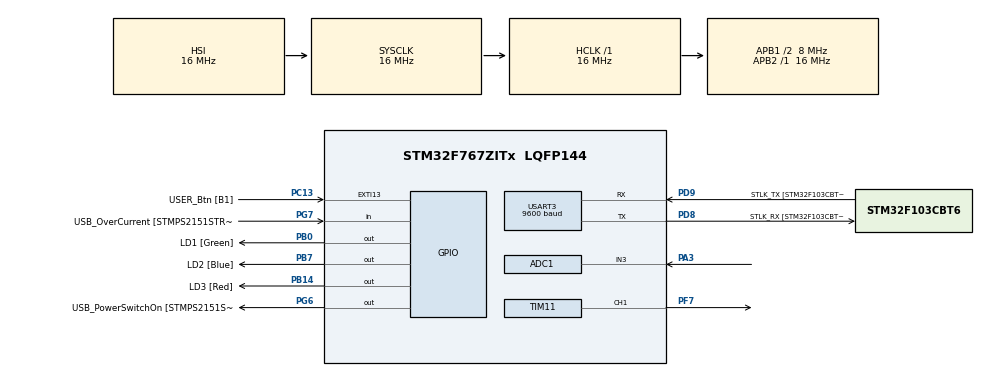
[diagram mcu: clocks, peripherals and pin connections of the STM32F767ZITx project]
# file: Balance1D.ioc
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ADC1.Channel-2\#ChannelRegularConversion=ADC_CHANNEL_3
ADC1.NbrOfConversionFlag=1
ADC1.Rank-2\#ChannelRegularConversion=1
ADC1.SamplingTime-2\#ChannelRegularConversion=ADC_SAMPLETIME_3CYCLES
ADC1.master=1
Mcu.Family=STM32F7
Mcu.Name=STM32F767ZITx
Mcu.Package=LQFP144
NVIC.PriorityGroup=NVIC_PRIORITYGROUP_4
PA1.GPIO_Label=RMII_REF_CLK [LAN8742A-CZ-TR_REFCLK0]
PA1.Signal=ETH_REF_CLK
PA10.GPIO_Label=USB_ID
PA10.Signal=USB_OTG_FS_ID
PA11.GPIO_Label=USB_DM
PA11.Signal=USB_OTG_FS_DM
PA12.GPIO_Label=USB_DP
PA12.Signal=USB_OTG_FS_DP
PA13.GPIO_Label=TMS
PA13.Signal=SYS_JTMS-SWDIO
PA14.GPIO_Label=TCK
PA14.Signal=SYS_JTCK-SWCLK
PA2.Signal=USART2_TX
PA3.Signal=ADCx_IN3
PA5.Signal=S_TIM2_CH1_ETR
PA7.GPIO_Label=RMII_CRS_DV [LAN8742A-CZ-TR_CRS_DV]
PA7.Signal=ETH_CRS_DV
PA8.GPIO_Label=USB_SOF [TP1]
PA8.Signal=USB_OTG_FS_SOF
PA9.GPIO_Label=USB_VBUS
PA9.Signal=USB_OTG_FS_VBUS
PB0.GPIO_Label=LD1 [Green]
PB0.Signal=GPIO_Output
PB13.GPIO_Label=RMII_TXD1 [LAN8742A-CZ-TR_TXD1]
PB13.Signal=ETH_TXD1
PB14.GPIO_Label=LD3 [Red]
PB14.Signal=GPIO_Output
PB3.GPIO_Label=SW0
PB3.Signal=SYS_JTDO-SWO
PB7.GPIO_Label=LD2 [Blue]
PB7.Signal=GPIO_Output
PC1.GPIO_Label=RMII_MDC [LAN8742A-CZ-TR_MDC]
PC1.Signal=ETH_MDC
PC13.GPIO_Label=USER_Btn [B1]
PC13.Signal=GPXTI13
PC14/OSC32_IN.Signal=RCC_OSC32_IN
PC15/OSC32_OUT.Signal=RCC_OSC32_OUT
PC4.GPIO_Label=RMII_RXD0 [LAN8742A-CZ-TR_RXD0]
PC4.Signal=ETH_RXD0
PC5.GPIO_Label=RMII_RXD1 [LAN8742A-CZ-TR_RXD1]
PC5.Signal=ETH_RXD1
PD8.GPIO_Label=STLK_RX [STM32F103CBT6_PA3]
PD8.Mode=Asynchronous
PD8.Signal=USART3_TX
PD9.GPIO_Label=STLK_TX [STM32F103CBT6_PA2]
PD9.Mode=Asynchronous
PD9.Signal=USART3_RX
PF7.Signal=S_TIM11_CH1
PG11.GPIO_Label=RMII_TX_EN [LAN8742A-CZ-TR_TXEN]
PG11.Signal=ETH_TX_EN
PG13.GPIO_Label=RMII_TXD0 [LAN8742A-CZ-TR_TXD0]
PG13.Signal=ETH_TXD0
PG6.GPIO_Label=USB_PowerSwitchOn [STMPS2151STR_EN]
PG6.Signal=GPIO_Output
PG7.GPIO_Label=USB_OverCurrent [STMPS2151STR_FAULT]
PG7.Signal=GPIO_Input
PH0/OSC_IN.GPIO_Label=MCO [STM32F103CBT6_PA8]
PH0/OSC_IN.Mode=HSE-External-Oscillator
PH0/OSC_IN.Signal=RCC_OSC_IN
PH1/OSC_OUT.Mode=HSE-External-Oscillator
PH1/OSC_OUT.Signal=RCC_OSC_OUT
ProjectManager.HeapSize=0x200
ProjectManager.StackSize=0x400
ProjectManager.TargetToolchain=STM32CubeIDE
RCC.48MHZClocksFreq_Value=24000000
RCC.AHBFreq_Value=16000000
RCC.APB1CLKDivider=RCC_HCLK_DIV2
RCC.APB1Freq_Value=8000000
RCC.APB1TimFreq_Value=16000000
RCC.APB2Freq_Value=16000000
RCC.APB2TimFreq_Value=16000000
RCC.CortexFreq_Value=16000000
RCC.HCLKFreq_Value=16000000
RCC.HSE_VALUE=16000000
RCC.HSI_VALUE=16000000
RCC.LSE_VALUE=32768
RCC.PLLMUL=RCC_PLL_MUL9
RCC.PRESCALERUSB=RCC_USBCLKSOURCE_PLL_DIV1_5
RCC.SYSCLKFreq_VALUE=16000000
RCC.SYSCLKSourceVirtual=RCC_SYSCLKSOURCE_PLLCLK
RCC.USBFreq_Value=96000000
RCC.VCOOutputFreq_Value=192000000
SH.ADCx_IN3.0=ADC1_IN3,IN3
SH.S_TIM11_CH1.0=TIM11_CH1,PWM Generation1 CH1
SH.S_TIM2_CH1_ETR.0=TIM2_CH1
TIM11.Channel=TIM_CHANNEL_1
TIM11.Period=1000-1 
TIM11.Prescaler=320-1 
USART3.BaudRate=9600
USART3.VirtualMode-Asynchronous=VM_ASYNC
VP_TIM11_VS_ClockSourceINT.Mode=Enable_Timer
board=NUCLEO-F767ZI

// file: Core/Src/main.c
/* USER CODE BEGIN Header */
/**
  ******************************************************************************
  * @file           : main.c
  * @brief          : Main program body
  ******************************************************************************
  * @attention
  *
  * Copyright (c) 2022 STMicroelectronics.
  * All rights reserved.
  *
  * This software is licensed under terms that can be found in the LICENSE file
  * in the root directory of this software component.
  * If no LICENSE file comes with this software, it is provided AS-IS.
  *
  ******************************************************************************
  */
/* USER CODE END Header */
#include "main.h"

/* USER CODE BEGIN Includes */
#include <string.h>
#include <stdio.h>
/* USER CODE END Includes */

/* USER CODE BEGIN PD */
//#define kp 3.0
//#define ki 0.0
//#define kd 0.0
/* USER CODE END PD */

ADC_HandleTypeDef hadc1;

TIM_HandleTypeDef htim11;

UART_HandleTypeDef huart3;

void SystemClock_Config(void);
static void MX_GPIO_Init(void);
static void MX_ADC1_Init(void);
static void MX_USART3_UART_Init(void);
static void MX_TIM11_Init(void);

/* USER CODE BEGIN 0 */
int map(int x, int in_min, int in_max, int out_min, int out_max) {
  return (x - in_min) * (out_max - out_min) / (in_max - in_min) + out_min;
}

int distance() {
	  uint16_t adc;
	  HAL_ADC_Start(&hadc1);
	  HAL_ADC_PollForConversion(&hadc1, HAL_MAX_DELAY);
	  adc = (HAL_ADC_GetValue(&hadc1) / 193.561976);	//config ADC to max num 20
//	  adc = HAL_ADC_GetValue(&hadc1);
	  return adc;
}

double last_error;
double pid_controller(double setpoint, double feedback, double kp, double ki, double kd) {

  double error = setpoint - feedback;			// Calculate the error

  double p_term = kp * error;				// Calculate the proportional term
  static double i_term = 0;				// Calculate the integral term
	 i_term += ki * error;
  double d_term = kd * (error - last_error);		// Calculate the derivative term
  last_error = error;

  return p_term + i_term + d_term;			// Return the output of the PID controller
}

/* USER CODE END 0 */

int main(void)
{
  /* USER CODE BEGIN 1 */
	char sendBuffer [64] = {0};	//buffer for UART
  /* USER CODE END 1 */

  /* MCU Configuration--------------------------------------------------------*/

  /* Reset of all peripherals, Initializes the Flash interface and the Systick. */
  HAL_Init();

  /* Configure the system clock */
  SystemClock_Config();

  /* Initialize all configured peripherals */
  MX_GPIO_Init();
  MX_ADC1_Init();
  MX_USART3_UART_Init();
  MX_TIM11_Init();
  /* USER CODE BEGIN 2 */
  HAL_TIM_PWM_Start(&htim11, TIM_CHANNEL_1);
  TIM11->CCR1 = 76;
  /* USER CODE END 2 */

  /* Infinite loop */
  while (1)
  {

    /* USER CODE BEGIN 3 */
	  double dist = distance();
	  if (dist == 12 || dist ==  11)					//filter out 12 and 11 since its noise from Sharp sensor
	  {
		  dist = 9;
	  }
//					   S  F      P      I     D
	  double pid_val = pid_controller(9, dist, 1.998, 0.0067, 50);
	  pid_val = map(pid_val, -15, 15, 91, 61);				//value range is +-15, zero becoming the 0 error

	  if (pid_val < 61)
	  {
		  pid_val = 61;							//Limit tilt --> val = 61, rail tilt to left(from our POV)
	  }
	  if (pid_val > 91)
	  {
		  pid_val = 91;							//Limit tilt --> val = 91, rail tilt to right(from our POV)
	  }

	  TIM11->CCR1 = pid_val;						//middle rail --> val = 76
  }
	  memset(sendBuffer, 0x00, 64);						//default serial 0
	  sprintf((char*)sendBuffer, "%.2lf\r\n", dist); 			//PID_val being sent to serial for debug if something happens

	  HAL_UART_Transmit(&huart3, (uint8_t*) sendBuffer, strlen((char*)sendBuffer), HAL_MAX_DELAY);
	  HAL_Delay(70);										//filters the shaking of the rail
  }
  /* USER CODE END 3 */
}

void SystemClock_Config(void)
{
  RCC_OscInitTypeDef RCC_OscInitStruct = {0};
  RCC_ClkInitTypeDef RCC_ClkInitStruct = {0};

  /** Configure the main internal regulator output voltage
  */
  __HAL_RCC_PWR_CLK_ENABLE();
  __HAL_PWR_VOLTAGESCALING_CONFIG(PWR_REGULATOR_VOLTAGE_SCALE3);

  /** Initializes the RCC Oscillators according to the specified parameters
  * in the RCC_OscInitTypeDef structure.
  */
  RCC_OscInitStruct.OscillatorType = RCC_OSCILLATORTYPE_HSI;
  RCC_OscInitStruct.HSIState = RCC_HSI_ON;
  RCC_OscInitStruct.HSICalibrationValue = RCC_HSICALIBRATION_DEFAULT;
  RCC_OscInitStruct.PLL.PLLState = RCC_PLL_NONE;
  if (HAL_RCC_OscConfig(&RCC_OscInitStruct) != HAL_OK)
  {
    Error_Handler();
  }

  /** Initializes the CPU, AHB and APB buses clocks
  */
  RCC_ClkInitStruct.ClockType = RCC_CLOCKTYPE_HCLK|RCC_CLOCKTYPE_SYSCLK
                              |RCC_CLOCKTYPE_PCLK1|RCC_CLOCKTYPE_PCLK2;
  RCC_ClkInitStruct.SYSCLKSource = RCC_SYSCLKSOURCE_HSI;
  RCC_ClkInitStruct.AHBCLKDivider = RCC_SYSCLK_DIV1;
  RCC_ClkInitStruct.APB1CLKDivider = RCC_HCLK_DIV2;
  RCC_ClkInitStruct.APB2CLKDivider = RCC_HCLK_DIV1;

  if (HAL_RCC_ClockConfig(&RCC_ClkInitStruct, FLASH_LATENCY_0) != HAL_OK)
  {
    Error_Handler();
  }
}

static void MX_ADC1_Init(void)
{

  ADC_ChannelConfTypeDef sConfig = {0};

  /** Configure the global features of the ADC (Clock, Resolution, Data Alignment and number of conversion)
  */
  hadc1.Instance = ADC1;
  hadc1.Init.ClockPrescaler = ADC_CLOCK_SYNC_PCLK_DIV2;
  hadc1.Init.Resolution = ADC_RESOLUTION_12B;
  hadc1.Init.ScanConvMode = ADC_SCAN_DISABLE;
  hadc1.Init.ContinuousConvMode = DISABLE;
  hadc1.Init.DiscontinuousConvMode = DISABLE;
  hadc1.Init.ExternalTrigConvEdge = ADC_EXTERNALTRIGCONVEDGE_NONE;
  hadc1.Init.ExternalTrigConv = ADC_SOFTWARE_START;
  hadc1.Init.DataAlign = ADC_DATAALIGN_RIGHT;
  hadc1.Init.NbrOfConversion = 1;
  hadc1.Init.DMAContinuousRequests = DISABLE;
  hadc1.Init.EOCSelection = ADC_EOC_SINGLE_CONV;
  if (HAL_ADC_Init(&hadc1) != HAL_OK)
  {
    Error_Handler();
  }

  /** Configure for the selected ADC regular channel its corresponding rank in the sequencer and its sample time.
  */
  sConfig.Channel = ADC_CHANNEL_3;
  sConfig.Rank = ADC_REGULAR_RANK_1;
  sConfig.SamplingTime = ADC_SAMPLETIME_3CYCLES;
  if (HAL_ADC_ConfigChannel(&hadc1, &sConfig) != HAL_OK)
  {
    Error_Handler();
  }

}

static void MX_TIM11_Init(void)
{

  TIM_OC_InitTypeDef sConfigOC = {0};

  htim11.Instance = TIM11;
  htim11.Init.Prescaler = 320-1 ;
  htim11.Init.CounterMode = TIM_COUNTERMODE_UP;
  htim11.Init.Period = 1000-1 ;
  htim11.Init.ClockDivision = TIM_CLOCKDIVISION_DIV1;
  htim11.Init.AutoReloadPreload = TIM_AUTORELOAD_PRELOAD_DISABLE;
  if (HAL_TIM_Base_Init(&htim11) != HAL_OK)
  {
    Error_Handler();
  }
  if (HAL_TIM_PWM_Init(&htim11) != HAL_OK)
  {
    Error_Handler();
  }
  sConfigOC.OCMode = TIM_OCMODE_PWM1;
  sConfigOC.Pulse = 0;
  sConfigOC.OCPolarity = TIM_OCPOLARITY_HIGH;
  sConfigOC.OCFastMode = TIM_OCFAST_DISABLE;
  if (HAL_TIM_PWM_ConfigChannel(&htim11, &sConfigOC, TIM_CHANNEL_1) != HAL_OK)
  {
    Error_Handler();
  }
  HAL_TIM_MspPostInit(&htim11);

}

static void MX_USART3_UART_Init(void)
{

  huart3.Instance = USART3;
  huart3.Init.BaudRate = 9600;
  huart3.Init.WordLength = UART_WORDLENGTH_8B;
  huart3.Init.StopBits = UART_STOPBITS_1;
  huart3.Init.Parity = UART_PARITY_NONE;
  huart3.Init.Mode = UART_MODE_TX_RX;
  huart3.Init.HwFlowCtl = UART_HWCONTROL_NONE;
  huart3.Init.OverSampling = UART_OVERSAMPLING_16;
  huart3.Init.OneBitSampling = UART_ONE_BIT_SAMPLE_DISABLE;
  huart3.AdvancedInit.AdvFeatureInit = UART_ADVFEATURE_NO_INIT;
  if (HAL_UART_Init(&huart3) != HAL_OK)
  {
    Error_Handler();
  }

}

static void MX_GPIO_Init(void)
{
  GPIO_InitTypeDef GPIO_InitStruct = {0};

  /* GPIO Ports Clock Enable */
  __HAL_RCC_GPIOC_CLK_ENABLE();
  __HAL_RCC_GPIOF_CLK_ENABLE();
  __HAL_RCC_GPIOH_CLK_ENABLE();
  __HAL_RCC_GPIOA_CLK_ENABLE();
  __HAL_RCC_GPIOB_CLK_ENABLE();
  __HAL_RCC_GPIOD_CLK_ENABLE();
  __HAL_RCC_GPIOG_CLK_ENABLE();

  /*Configure GPIO pin Output Level */
  HAL_GPIO_WritePin(GPIOB, LD1_Pin|LD3_Pin|LD2_Pin, GPIO_PIN_RESET);

  /*Configure GPIO pin Output Level */
  HAL_GPIO_WritePin(USB_PowerSwitchOn_GPIO_Port, USB_PowerSwitchOn_Pin, GPIO_PIN_RESET);

  /*Configure GPIO pin : USER_Btn_Pin */
  GPIO_InitStruct.Pin = USER_Btn_Pin;
  GPIO_InitStruct.Mode = GPIO_MODE_IT_RISING;
  GPIO_InitStruct.Pull = GPIO_NOPULL;
  HAL_GPIO_Init(USER_Btn_GPIO_Port, &GPIO_InitStruct);

  /*Configure GPIO pins : RMII_MDC_Pin RMII_RXD0_Pin RMII_RXD1_Pin */
  GPIO_InitStruct.Pin = RMII_MDC_Pin|RMII_RXD0_Pin|RMII_RXD1_Pin;
  GPIO_InitStruct.Mode = GPIO_MODE_AF_PP;
  GPIO_InitStruct.Pull = GPIO_NOPULL;
  GPIO_InitStruct.Speed = GPIO_SPEED_FREQ_VERY_HIGH;
  GPIO_InitStruct.Alternate = GPIO_AF11_ETH;
  HAL_GPIO_Init(GPIOC, &GPIO_InitStruct);

  /*Configure GPIO pins : RMII_REF_CLK_Pin RMII_CRS_DV_Pin */
  GPIO_InitStruct.Pin = RMII_REF_CLK_Pin|RMII_CRS_DV_Pin;
  GPIO_InitStruct.Mode = GPIO_MODE_AF_PP;
  GPIO_InitStruct.Pull = GPIO_NOPULL;
  GPIO_InitStruct.Speed = GPIO_SPEED_FREQ_VERY_HIGH;
  GPIO_InitStruct.Alternate = GPIO_AF11_ETH;
  HAL_GPIO_Init(GPIOA, &GPIO_InitStruct);

  /*Configure GPIO pin : PA2 */
  GPIO_InitStruct.Pin = GPIO_PIN_2;
  GPIO_InitStruct.Mode = GPIO_MODE_AF_PP;
  GPIO_InitStruct.Pull = GPIO_NOPULL;
  GPIO_InitStruct.Speed = GPIO_SPEED_FREQ_VERY_HIGH;
  GPIO_InitStruct.Alternate = GPIO_AF7_USART2;
  HAL_GPIO_Init(GPIOA, &GPIO_InitStruct);

  /*Configure GPIO pin : PA5 */
  GPIO_InitStruct.Pin = GPIO_PIN_5;
  GPIO_InitStruct.Mode = GPIO_MODE_AF_PP;
  GPIO_InitStruct.Pull = GPIO_NOPULL;
  GPIO_InitStruct.Speed = GPIO_SPEED_FREQ_LOW;
  GPIO_InitStruct.Alternate = GPIO_AF1_TIM2;
  HAL_GPIO_Init(GPIOA, &GPIO_InitStruct);

  /*Configure GPIO pins : LD1_Pin LD3_Pin LD2_Pin */
  GPIO_InitStruct.Pin = LD1_Pin|LD3_Pin|LD2_Pin;
  GPIO_InitStruct.Mode = GPIO_MODE_OUTPUT_PP;
  GPIO_InitStruct.Pull = GPIO_NOPULL;
  GPIO_InitStruct.Speed = GPIO_SPEED_FREQ_LOW;
  HAL_GPIO_Init(GPIOB, &GPIO_InitStruct);

  /*Configure GPIO pin : RMII_TXD1_Pin */
  GPIO_InitStruct.Pin = RMII_TXD1_Pin;
  GPIO_InitStruct.Mode = GPIO_MODE_AF_PP;
  GPIO_InitStruct.Pull = GPIO_NOPULL;
  GPIO_InitStruct.Speed = GPIO_SPEED_FREQ_VERY_HIGH;
  GPIO_InitStruct.Alternate = GPIO_AF11_ETH;
  HAL_GPIO_Init(RMII_TXD1_GPIO_Port, &GPIO_InitStruct);

  /*Configure GPIO pin : USB_PowerSwitchOn_Pin */
  GPIO_InitStruct.Pin = USB_PowerSwitchOn_Pin;
  GPIO_InitStruct.Mode = GPIO_MODE_OUTPUT_PP;
  GPIO_InitStruct.Pull = GPIO_NOPULL;
  GPIO_InitStruct.Speed = GPIO_SPEED_FREQ_LOW;
  HAL_GPIO_Init(USB_PowerSwitchOn_GPIO_Port, &GPIO_InitStruct);

  /*Configure GPIO pin : USB_OverCurrent_Pin */
  GPIO_InitStruct.Pin = USB_OverCurrent_Pin;
  GPIO_InitStruct.Mode = GPIO_MODE_INPUT;
  GPIO_InitStruct.Pull = GPIO_NOPULL;
  HAL_GPIO_Init(USB_OverCurrent_GPIO_Port, &GPIO_InitStruct);

  /*Configure GPIO pins : USB_SOF_Pin USB_ID_Pin USB_DM_Pin USB_DP_Pin */
  GPIO_InitStruct.Pin = USB_SOF_Pin|USB_ID_Pin|USB_DM_Pin|USB_DP_Pin;
  GPIO_InitStruct.Mode = GPIO_MODE_AF_PP;
  GPIO_InitStruct.Pull = GPIO_NOPULL;
  GPIO_InitStruct.Speed = GPIO_SPEED_FREQ_VERY_HIGH;
  GPIO_InitStruct.Alternate = GPIO_AF10_OTG_FS;
  HAL_GPIO_Init(GPIOA, &GPIO_InitStruct);

  /*Configure GPIO pin : USB_VBUS_Pin */
  GPIO_InitStruct.Pin = USB_VBUS_Pin;
  GPIO_InitStruct.Mode = GPIO_MODE_INPUT;
  GPIO_InitStruct.Pull = GPIO_NOPULL;
  HAL_GPIO_Init(USB_VBUS_GPIO_Port, &GPIO_InitStruct);

  /*Configure GPIO pins : RMII_TX_EN_Pin RMII_TXD0_Pin */
  GPIO_InitStruct.Pin = RMII_TX_EN_Pin|RMII_TXD0_Pin;
  GPIO_InitStruct.Mode = GPIO_MODE_AF_PP;
  GPIO_InitStruct.Pull = GPIO_NOPULL;
  GPIO_InitStruct.Speed = GPIO_SPEED_FREQ_VERY_HIGH;
  GPIO_InitStruct.Alternate = GPIO_AF11_ETH;
  HAL_GPIO_Init(GPIOG, &GPIO_InitStruct);

}

void Error_Handler(void)
{
  __disable_irq();
  while (1)
  {
  }
}
